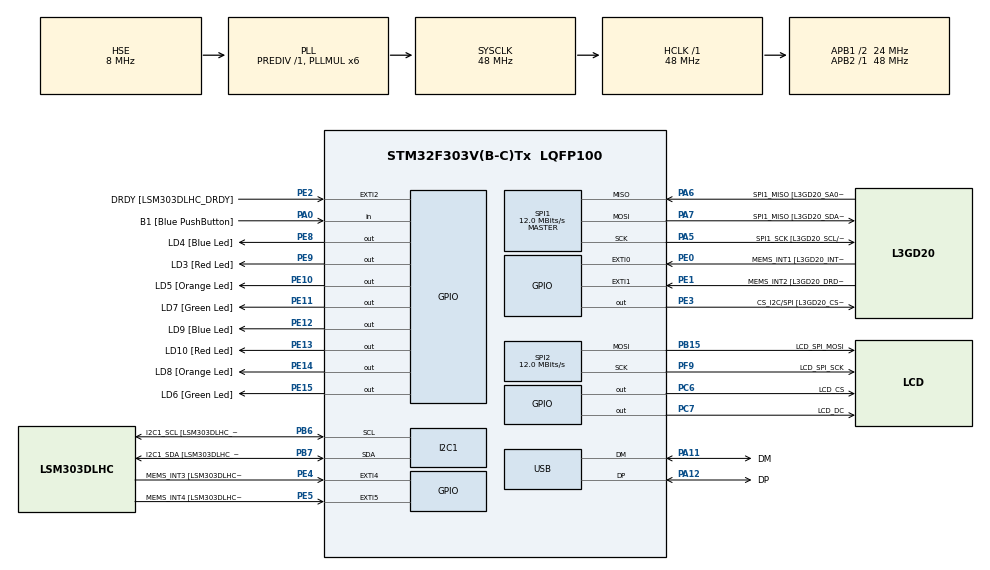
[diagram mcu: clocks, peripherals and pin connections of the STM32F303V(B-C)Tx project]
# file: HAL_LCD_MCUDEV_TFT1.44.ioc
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I2C1.Timing=0x2000090E
I2C1.Timing-I2C=0x2000090E
Mcu.Family=STM32F3
Mcu.Name=STM32F303V(B-C)Tx
Mcu.Package=LQFP100
NVIC.PriorityGroup=NVIC_PRIORITYGROUP_0
PA0.GPIO_Label=B1 [Blue PushButton]
PA0.Signal=GPIO_Input
PA11.GPIO_Label=DM
PA11.Mode=Device
PA11.Signal=USB_DM
PA12.GPIO_Label=DP
PA12.Mode=Device
PA12.Signal=USB_DP
PA13.GPIO_Label=SWDIO
PA13.Mode=Serial_Wire
PA13.Signal=SYS_JTMS-SWDIO
PA14.GPIO_Label=SWCLK
PA14.Mode=Serial_Wire
PA14.Signal=SYS_JTCK-SWCLK
PA5.GPIO_Label=SPI1_SCK [L3GD20_SCL/SPC]
PA5.Mode=Full_Duplex_Master
PA5.Signal=SPI1_SCK
PA6.GPIO_Label=SPI1_MISO [L3GD20_SA0/SDO]
PA6.Mode=Full_Duplex_Master
PA6.Signal=SPI1_MISO
PA7.GPIO_Label=SPI1_MISO [L3GD20_SDA/SDI/SDO]
PA7.Mode=Full_Duplex_Master
PA7.Signal=SPI1_MOSI
PB15.GPIO_Label=LCD_SPI_MOSI
PB15.Mode=TX_Only_Simplex_Unidirect_Master
PB15.Signal=SPI2_MOSI
PB3.GPIO_Label=SWO
PB3.Signal=SYS_JTDO-TRACESWO
PB6.GPIO_Label=I2C1_SCL [LSM303DLHC_SCL]
PB6.GPIO_Pu=GPIO_PULLUP
PB6.Mode=I2C
PB6.Signal=I2C1_SCL
PB7.GPIO_Label=I2C1_SDA [LSM303DLHC_SDA]
PB7.GPIO_Pu=GPIO_PULLUP
PB7.Mode=I2C
PB7.Signal=I2C1_SDA
PC14-OSC32_IN.GPIO_Label=OSC32_IN
PC14-OSC32_IN.Signal=RCC_OSC32_IN
PC15-OSC32_OUT.GPIO_Label=OSC32_OUT
PC15-OSC32_OUT.Signal=RCC_OSC32_OUT
PC6.GPIO_Label=LCD_CS
PC6.Signal=GPIO_Output
PC7.GPIO_Label=LCD_DC
PC7.Signal=GPIO_Output
PE0.GPIO_Label=MEMS_INT1 [L3GD20_INT1]
PE0.GPIO_ModeDefaultEXTI=GPIO_MODE_EVT_RISING
PE0.Signal=GPXTI0
PE1.GPIO_Label=MEMS_INT2 [L3GD20_DRDY/INT2]
PE1.GPIO_ModeDefaultEXTI=GPIO_MODE_EVT_RISING
PE1.Signal=GPXTI1
PE10.GPIO_Label=LD5 [Orange Led]
PE10.Signal=GPIO_Output
PE11.GPIO_Label=LD7 [Green Led]
PE11.Signal=GPIO_Output
PE12.GPIO_Label=LD9 [Blue Led]
PE12.Signal=GPIO_Output
PE13.GPIO_Label=LD10 [Red Led]
PE13.Signal=GPIO_Output
PE14.GPIO_Label=LD8 [Orange Led]
PE14.Signal=GPIO_Output
PE15.GPIO_Label=LD6 [Green Led]
PE15.Signal=GPIO_Output
PE2.GPIO_Label=DRDY [LSM303DLHC_DRDY]
PE2.GPIO_ModeDefaultEXTI=GPIO_MODE_EVT_RISING
PE2.Signal=GPXTI2
PE3.GPIO_Label=CS_I2C/SPI [L3GD20_CS_I2C/SPI]
PE3.Signal=GPIO_Output
PE4.GPIO_Label=MEMS_INT3 [LSM303DLHC_INT1]
PE4.GPIO_ModeDefaultEXTI=GPIO_MODE_EVT_RISING
PE4.Signal=GPXTI4
PE5.GPIO_Label=MEMS_INT4 [LSM303DLHC_INT2]
PE5.GPIO_ModeDefaultEXTI=GPIO_MODE_EVT_RISING
PE5.Signal=GPXTI5
PE8.GPIO_Label=LD4 [Blue Led]
PE8.Signal=GPIO_Output
PE9.GPIO_Label=LD3 [Red Led]
PE9.Signal=GPIO_Output
PF0-OSC_IN.GPIO_Label=OSC_IN
PF0-OSC_IN.Mode=HSE-External-Clock-Source
PF0-OSC_IN.Signal=RCC_OSC_IN
PF1-OSC_OUT.GPIO_Label=OSC_OUT
PF1-OSC_OUT.Signal=RCC_OSC_OUT
PF9.GPIO_Label=LCD_SPI_SCK
PF9.Mode=TX_Only_Simplex_Unidirect_Master
PF9.Signal=SPI2_SCK
ProjectManager.HeapSize=0x200
ProjectManager.StackSize=0x400
ProjectManager.TargetToolchain=STM32CubeIDE
RCC.AHBFreq_Value=48000000
RCC.APB1CLKDivider=RCC_HCLK_DIV2
RCC.APB1Freq_Value=24000000
RCC.APB1TimFreq_Value=48000000
RCC.APB2Freq_Value=48000000
RCC.APB2TimFreq_Value=48000000
RCC.CortexFreq_Value=48000000
RCC.HCLKFreq_Value=48000000
RCC.HSE_VALUE=8000000
RCC.HSI_VALUE=8000000
RCC.LSE_VALUE=32768
RCC.PLLMUL=RCC_PLL_MUL6
RCC.SYSCLKFreq_VALUE=48000000
RCC.SYSCLKSourceVirtual=RCC_SYSCLKSOURCE_PLLCLK
RCC.USBFreq_Value=48000000
SPI1.BaudRatePrescaler=SPI_BAUDRATEPRESCALER_4
SPI1.BaudRatePrescaler-Full_Duplex_Master=SPI_BAUDRATEPRESCALER_2
SPI1.CalculateBaudRate=12.0 MBits/s
SPI1.CalculateBaudRate-Full_Duplex_Master=24.0 MBits/s
SPI1.Direction=SPI_DIRECTION_2LINES
SPI1.Mode=SPI_MODE_MASTER
SPI1.Mode-Full_Duplex_Master=SPI_MODE_MASTER
SPI1.VirtualType=VM_MASTER
SPI2.CalculateBaudRate=12.0 MBits/s
SPI2.DataSize=SPI_DATASIZE_8BIT
SPI2.Direction=SPI_DIRECTION_2LINES
SPI2.Mode=SPI_MODE_MASTER
SPI2.VirtualType=VM_MASTER
board=STM32F3DISCOVERY

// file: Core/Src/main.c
/* USER CODE BEGIN Header */
/**
  ******************************************************************************
  * @file           : main.c
  * @brief          : Main program body
  ******************************************************************************
  * @attention
  *
  * Copyright (c) 2025 STMicroelectronics.
  * All rights reserved.
  *
  * This software is licensed under terms that can be found in the LICENSE file
  * in the root directory of this software component.
  * If no LICENSE file comes with this software, it is provided AS-IS.
  *
  ******************************************************************************
  */
/* USER CODE END Header */
#include "main.h"

/* USER CODE BEGIN Includes */
#include "LCD_MCUDEV.h"
#include "ST7735.h"
#include "fonts.h"
/* USER CODE END Includes */

I2C_HandleTypeDef hi2c1;

SPI_HandleTypeDef hspi1;
SPI_HandleTypeDef hspi2;

PCD_HandleTypeDef hpcd_USB_FS;

void SystemClock_Config(void);
static void MX_GPIO_Init(void);
static void MX_I2C1_Init(void);
static void MX_SPI1_Init(void);
static void MX_USB_PCD_Init(void);
static void MX_SPI2_Init(void);

int main(void)
{

  /* MCU Configuration--------------------------------------------------------*/

  /* Reset of all peripherals, Initializes the Flash interface and the Systick. */
  HAL_Init();

  /* Configure the system clock */
  SystemClock_Config();

  /* Initialize all configured peripherals */
  MX_GPIO_Init();
  MX_I2C1_Init();
  MX_SPI1_Init();
  MX_USB_PCD_Init();
  MX_SPI2_Init();
  /* USER CODE BEGIN 2 */
  //lcd_init();

	lcd_init();

	ST7735_FillScreen(ST7735_WHITE);

	FontDef _used_font = Font_11x18;
	uint16_t bg = ST7735_CYAN;

  /* USER CODE END 2 */

  /* Infinite loop */
  /* USER CODE BEGIN WHILE */
  while (1)
  {
	  lcd_fill_box(0, 0, 32, 160, RED);
	  HAL_Delay(100);
	  lcd_fill_box(32, 0, 32, 160, GREEN);
	  HAL_Delay(100);
	  lcd_fill_box(64, 0, 32, 160, BLUE);
	  HAL_Delay(100);
	  lcd_fill_box(96, 0, 32, 160, BLACK);

	  ST7735_DrawString(20, 10, "Hello", _used_font, ST7735_BLACK, bg);
	  HAL_Delay(5000);

	  lcd_fill_box(0, 0, 32, 160, YELLOW);
	  HAL_Delay(100);
	  lcd_fill_box(32, 0, 32, 160, MAGENTA);
	  HAL_Delay(100);
	  lcd_fill_box(64, 0, 32, 160, CYAN);
	  HAL_Delay(100);
	  lcd_fill_box(96, 0, 32, 160, WHITE);
	  ST7735_DrawString(20, 60, "Goodbye", _used_font, ST7735_BLACK, bg);
	  HAL_Delay(5000);

    /* USER CODE END WHILE */

  }
}

void SystemClock_Config(void)
{
  RCC_OscInitTypeDef RCC_OscInitStruct = {0};
  RCC_ClkInitTypeDef RCC_ClkInitStruct = {0};
  RCC_PeriphCLKInitTypeDef PeriphClkInit = {0};

  /** Initializes the RCC Oscillators according to the specified parameters
  * in the RCC_OscInitTypeDef structure.
  */
  RCC_OscInitStruct.OscillatorType = RCC_OSCILLATORTYPE_HSI|RCC_OSCILLATORTYPE_HSE;
  RCC_OscInitStruct.HSEState = RCC_HSE_BYPASS;
  RCC_OscInitStruct.HSEPredivValue = RCC_HSE_PREDIV_DIV1;
  RCC_OscInitStruct.HSIState = RCC_HSI_ON;
  RCC_OscInitStruct.HSICalibrationValue = RCC_HSICALIBRATION_DEFAULT;
  RCC_OscInitStruct.PLL.PLLState = RCC_PLL_ON;
  RCC_OscInitStruct.PLL.PLLSource = RCC_PLLSOURCE_HSE;
  RCC_OscInitStruct.PLL.PLLMUL = RCC_PLL_MUL6;
  if (HAL_RCC_OscConfig(&RCC_OscInitStruct) != HAL_OK)
  {
    Error_Handler();
  }

  /** Initializes the CPU, AHB and APB buses clocks
  */
  RCC_ClkInitStruct.ClockType = RCC_CLOCKTYPE_HCLK|RCC_CLOCKTYPE_SYSCLK
                              |RCC_CLOCKTYPE_PCLK1|RCC_CLOCKTYPE_PCLK2;
  RCC_ClkInitStruct.SYSCLKSource = RCC_SYSCLKSOURCE_PLLCLK;
  RCC_ClkInitStruct.AHBCLKDivider = RCC_SYSCLK_DIV1;
  RCC_ClkInitStruct.APB1CLKDivider = RCC_HCLK_DIV2;
  RCC_ClkInitStruct.APB2CLKDivider = RCC_HCLK_DIV1;

  if (HAL_RCC_ClockConfig(&RCC_ClkInitStruct, FLASH_LATENCY_1) != HAL_OK)
  {
    Error_Handler();
  }
  PeriphClkInit.PeriphClockSelection = RCC_PERIPHCLK_USB|RCC_PERIPHCLK_I2C1;
  PeriphClkInit.I2c1ClockSelection = RCC_I2C1CLKSOURCE_HSI;
  PeriphClkInit.USBClockSelection = RCC_USBCLKSOURCE_PLL;
  if (HAL_RCCEx_PeriphCLKConfig(&PeriphClkInit) != HAL_OK)
  {
    Error_Handler();
  }
}

static void MX_I2C1_Init(void)
{

  hi2c1.Instance = I2C1;
  hi2c1.Init.Timing = 0x2000090E;
  hi2c1.Init.OwnAddress1 = 0;
  hi2c1.Init.AddressingMode = I2C_ADDRESSINGMODE_7BIT;
  hi2c1.Init.DualAddressMode = I2C_DUALADDRESS_DISABLE;
  hi2c1.Init.OwnAddress2 = 0;
  hi2c1.Init.OwnAddress2Masks = I2C_OA2_NOMASK;
  hi2c1.Init.GeneralCallMode = I2C_GENERALCALL_DISABLE;
  hi2c1.Init.NoStretchMode = I2C_NOSTRETCH_DISABLE;
  if (HAL_I2C_Init(&hi2c1) != HAL_OK)
  {
    Error_Handler();
  }

  /** Configure Analogue filter
  */
  if (HAL_I2CEx_ConfigAnalogFilter(&hi2c1, I2C_ANALOGFILTER_ENABLE) != HAL_OK)
  {
    Error_Handler();
  }

  /** Configure Digital filter
  */
  if (HAL_I2CEx_ConfigDigitalFilter(&hi2c1, 0) != HAL_OK)
  {
    Error_Handler();
  }

}

static void MX_SPI1_Init(void)
{

  /* SPI1 parameter configuration*/
  hspi1.Instance = SPI1;
  hspi1.Init.Mode = SPI_MODE_MASTER;
  hspi1.Init.Direction = SPI_DIRECTION_2LINES;
  hspi1.Init.DataSize = SPI_DATASIZE_4BIT;
  hspi1.Init.CLKPolarity = SPI_POLARITY_LOW;
  hspi1.Init.CLKPhase = SPI_PHASE_1EDGE;
  hspi1.Init.NSS = SPI_NSS_SOFT;
  hspi1.Init.BaudRatePrescaler = SPI_BAUDRATEPRESCALER_4;
  hspi1.Init.FirstBit = SPI_FIRSTBIT_MSB;
  hspi1.Init.TIMode = SPI_TIMODE_DISABLE;
  hspi1.Init.CRCCalculation = SPI_CRCCALCULATION_DISABLE;
  hspi1.Init.CRCPolynomial = 7;
  hspi1.Init.CRCLength = SPI_CRC_LENGTH_DATASIZE;
  hspi1.Init.NSSPMode = SPI_NSS_PULSE_ENABLE;
  if (HAL_SPI_Init(&hspi1) != HAL_OK)
  {
    Error_Handler();
  }

}

static void MX_SPI2_Init(void)
{

  /* SPI2 parameter configuration*/
  hspi2.Instance = SPI2;
  hspi2.Init.Mode = SPI_MODE_MASTER;
  hspi2.Init.Direction = SPI_DIRECTION_2LINES;
  hspi2.Init.DataSize = SPI_DATASIZE_8BIT;
  hspi2.Init.CLKPolarity = SPI_POLARITY_LOW;
  hspi2.Init.CLKPhase = SPI_PHASE_1EDGE;
  hspi2.Init.NSS = SPI_NSS_SOFT;
  hspi2.Init.BaudRatePrescaler = SPI_BAUDRATEPRESCALER_2;
  hspi2.Init.FirstBit = SPI_FIRSTBIT_MSB;
  hspi2.Init.TIMode = SPI_TIMODE_DISABLE;
  hspi2.Init.CRCCalculation = SPI_CRCCALCULATION_DISABLE;
  hspi2.Init.CRCPolynomial = 7;
  hspi2.Init.CRCLength = SPI_CRC_LENGTH_DATASIZE;
  hspi2.Init.NSSPMode = SPI_NSS_PULSE_ENABLE;
  if (HAL_SPI_Init(&hspi2) != HAL_OK)
  {
    Error_Handler();
  }

}

static void MX_USB_PCD_Init(void)
{

  hpcd_USB_FS.Instance = USB;
  hpcd_USB_FS.Init.dev_endpoints = 8;
  hpcd_USB_FS.Init.speed = PCD_SPEED_FULL;
  hpcd_USB_FS.Init.phy_itface = PCD_PHY_EMBEDDED;
  hpcd_USB_FS.Init.low_power_enable = DISABLE;
  hpcd_USB_FS.Init.battery_charging_enable = DISABLE;
  if (HAL_PCD_Init(&hpcd_USB_FS) != HAL_OK)
  {
    Error_Handler();
  }

}

static void MX_GPIO_Init(void)
{
  GPIO_InitTypeDef GPIO_InitStruct = {0};

  /* GPIO Ports Clock Enable */
  __HAL_RCC_GPIOE_CLK_ENABLE();
  __HAL_RCC_GPIOC_CLK_ENABLE();
  __HAL_RCC_GPIOF_CLK_ENABLE();
  __HAL_RCC_GPIOA_CLK_ENABLE();
  __HAL_RCC_GPIOB_CLK_ENABLE();

  /*Configure GPIO pin Output Level */
  HAL_GPIO_WritePin(GPIOE, CS_I2C_SPI_Pin|LD4_Pin|LD3_Pin|LD5_Pin
                          |LD7_Pin|LD9_Pin|LD10_Pin|LD8_Pin
                          |LD6_Pin, GPIO_PIN_RESET);

  /*Configure GPIO pin Output Level */
  HAL_GPIO_WritePin(GPIOC, LCD_CS_Pin|LCD_DC_Pin, GPIO_PIN_RESET);

  /*Configure GPIO pins : DRDY_Pin MEMS_INT3_Pin MEMS_INT4_Pin MEMS_INT1_Pin
                           MEMS_INT2_Pin */
  GPIO_InitStruct.Pin = DRDY_Pin|MEMS_INT3_Pin|MEMS_INT4_Pin|MEMS_INT1_Pin
                          |MEMS_INT2_Pin;
  GPIO_InitStruct.Mode = GPIO_MODE_EVT_RISING;
  GPIO_InitStruct.Pull = GPIO_NOPULL;
  HAL_GPIO_Init(GPIOE, &GPIO_InitStruct);

  /*Configure GPIO pins : CS_I2C_SPI_Pin LD4_Pin LD3_Pin LD5_Pin
                           LD7_Pin LD9_Pin LD10_Pin LD8_Pin
                           LD6_Pin */
  GPIO_InitStruct.Pin = CS_I2C_SPI_Pin|LD4_Pin|LD3_Pin|LD5_Pin
                          |LD7_Pin|LD9_Pin|LD10_Pin|LD8_Pin
                          |LD6_Pin;
  GPIO_InitStruct.Mode = GPIO_MODE_OUTPUT_PP;
  GPIO_InitStruct.Pull = GPIO_NOPULL;
  GPIO_InitStruct.Speed = GPIO_SPEED_FREQ_LOW;
  HAL_GPIO_Init(GPIOE, &GPIO_InitStruct);

  /*Configure GPIO pin : B1_Pin */
  GPIO_InitStruct.Pin = B1_Pin;
  GPIO_InitStruct.Mode = GPIO_MODE_INPUT;
  GPIO_InitStruct.Pull = GPIO_NOPULL;
  HAL_GPIO_Init(B1_GPIO_Port, &GPIO_InitStruct);

  /*Configure GPIO pins : LCD_CS_Pin LCD_DC_Pin */
  GPIO_InitStruct.Pin = LCD_CS_Pin|LCD_DC_Pin;
  GPIO_InitStruct.Mode = GPIO_MODE_OUTPUT_PP;
  GPIO_InitStruct.Pull = GPIO_NOPULL;
  GPIO_InitStruct.Speed = GPIO_SPEED_FREQ_LOW;
  HAL_GPIO_Init(GPIOC, &GPIO_InitStruct);

}

void Error_Handler(void)
{
  __disable_irq();
  while (1)
  {
  }
}
